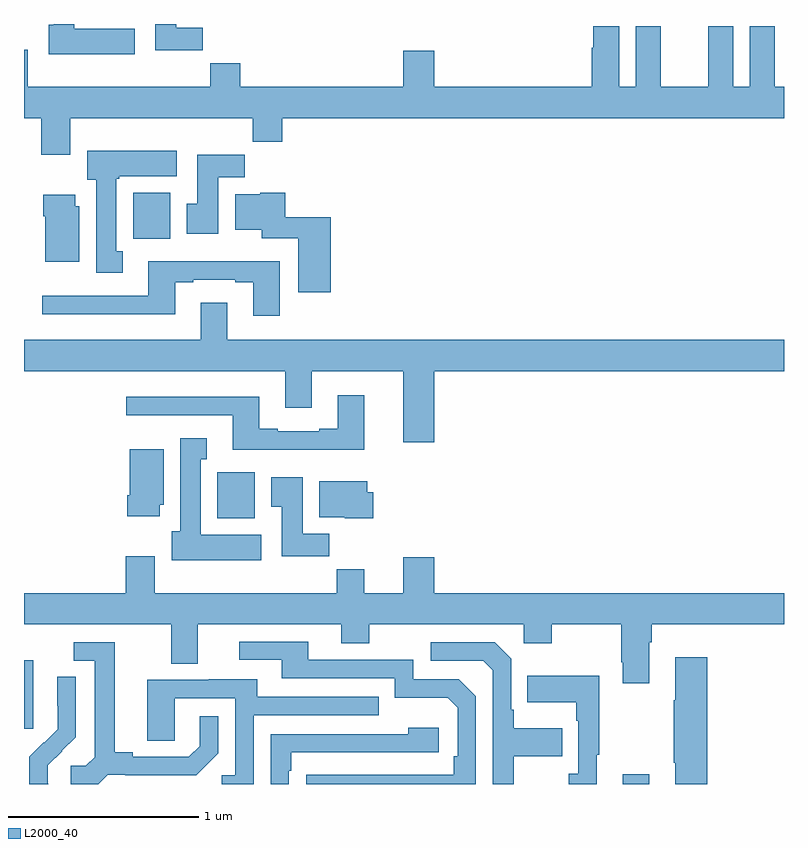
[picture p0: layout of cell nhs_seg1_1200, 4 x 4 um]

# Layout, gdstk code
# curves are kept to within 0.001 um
import gdstk
lib = gdstk.Library(unit=1e-6, precision=1e-09)
def R(c, l, rs):  # rectangles x0, y0, x1, y1
    for r in rs: c.add(gdstk.rectangle(r[:2], r[2:], *l))
def P(c, l, *ps):  # polygons
    for p in ps: c.add(gdstk.Polygon(p, *l))
L2000_40 = (2000, 40)

nhs_seg1_1200 = lib.new_cell('nhs_seg1_1200')
R(nhs_seg1_1200, L2000_40, [(178.151,576.199,178.291,576.25), (175,576.489,175.048,576.85), (176.018,577.598,176.215,577.84), (175.574,579.068,175.771,579.31)])
P(nhs_seg1_1200, L2000_40, [(175.94,580.18),(175.801,580.18),(175.801,580.199),(175.691,580.199),(175.691,580.062),(175.94,580.062)],
  [(175.582,580.174),(175.264,580.174),(175.264,580.199),(175.157,580.199),(175.157,580.194),(175.13,580.194),(175.13,580.04),(175.582,580.04)],
  [(175.243,579.704),(176.203,579.704),(176.203,579.58),(176.36,579.58),(176.36,579.704),(179,579.704),(179,579.868),(178.951,579.868),(178.951,580.186),(178.82,580.186),(178.82,579.868),(178.732,579.868),(178.732,580.186),(178.601,580.186),(178.601,579.868),(178.351,579.868),(178.351,580.186),(178.22,580.186),(178.22,579.868),(178.132,579.868),(178.132,580.186),(177.995,580.186),(177.995,580.073),(177.989,580.073),(177.989,579.868),(177.16,579.868),(177.16,580.057),(176.996,580.057),(176.996,579.868),(176.138,579.868),(176.138,579.992),(175.981,579.992),(175.981,579.868),(175.021,579.868),(175.021,580.063),(175,580.063),(175,579.704),(175.091,579.704),(175.091,579.51),(175.243,579.51)],
  [(175.519,579.002),(175.486,579.002),(175.486,579.385),(175.5,579.385),(175.5,579.398),(175.804,579.398),(175.804,579.532),(175.334,579.532),(175.334,579.378),(175.379,579.378),(175.379,578.889),(175.519,578.889)],
  [(176.023,579.392),(176.162,579.392),(176.162,579.511),(175.913,579.511),(175.913,579.252),(175.856,579.252),(175.856,579.096),(176.023,579.096)],
  [(176.615,579.181),(176.375,579.181),(176.375,579.31),(176.244,579.31),(176.244,579.304),(176.111,579.304),(176.111,579.116),(176.252,579.116),(176.252,579.071),(176.444,579.071),(176.444,578.787),(176.615,578.787)],
  [(175.291,579.24),(175.27,579.24),(175.27,579.301),(175.1,579.301),(175.1,579.188),(175.112,579.188),(175.112,578.948),(175.291,578.948)],
  [(176.347,578.95),(175.655,578.95),(175.655,578.769),(175.095,578.769),(175.095,578.672),(175.795,578.672),(175.795,578.841),(175.891,578.841),(175.891,578.853),(176.111,578.853),(176.111,578.841),(176.207,578.841),(176.207,578.664),(176.347,578.664)],
  [(177.16,578.372),(179,578.372),(179,578.536),(176.071,578.536),(176.071,578.731),(175.931,578.731),(175.931,578.536),(175,578.536),(175,578.372),(176.375,578.372),(176.375,578.178),(176.515,578.178),(176.515,578.372),(176.996,578.372),(176.996,577.998),(177.16,577.998)],
  [(176.791,578.245),(176.651,578.245),(176.651,578.068),(176.555,578.068),(176.555,578.055),(176.335,578.055),(176.335,578.068),(176.239,578.068),(176.239,578.236),(175.539,578.236),(175.539,578.139),(176.099,578.139),(176.099,577.958),(176.791,577.958)],
  [(176.248,577.51),(175.93,577.51),(175.93,577.907),(175.963,577.907),(175.963,578.02),(175.823,578.02),(175.823,577.53),(175.778,577.53),(175.778,577.376),(176.248,577.376)],
  [(175.714,577.668),(175.735,577.668),(175.735,577.96),(175.556,577.96),(175.556,577.72),(175.544,577.72),(175.544,577.608),(175.714,577.608)],
  [(176.606,577.516),(176.467,577.516),(176.467,577.813),(176.3,577.813),(176.3,577.657),(176.357,577.657),(176.357,577.398),(176.606,577.398)],
  [(176.837,577.734),(176.806,577.734),(176.806,577.792),(176.555,577.792),(176.555,577.604),(176.688,577.604),(176.688,577.598),(176.837,577.598)],
  [(178.291,576.944),(178.304,576.944),(178.304,577.04),(179,577.04),(179,577.204),(177.16,577.204),(177.16,577.393),(176.996,577.393),(176.996,577.204),(176.791,577.204),(176.791,577.328),(176.647,577.328),(176.647,577.204),(175.687,577.204),(175.687,577.399),(175.535,577.399),(175.535,577.204),(175,577.204),(175,577.04),(175.775,577.04),(175.775,576.832),(175.915,576.832),(175.915,577.04),(176.669,577.04),(176.669,576.941),(176.817,576.941),(176.817,577.04),(177.63,577.04),(177.63,576.941),(177.777,576.941),(177.777,577.04),(178.144,577.04),(178.144,576.841),(178.151,576.841),(178.151,576.729),(178.291,576.729)],
  [(177.378,576.66),(177.288,576.75),(177.048,576.75),(177.048,576.852),(176.497,576.852),(176.497,576.948),(176.133,576.948),(176.133,576.852),(176.357,576.852),(176.357,576.756),(176.952,576.756),(176.952,576.653),(177.229,576.653),(177.282,576.6),(177.282,576.346),(177.262,576.346),(177.262,576.249),(176.485,576.248),(176.485,576.199),(177.378,576.199)],
  [(175.44,576.249),(175.534,576.249),(175.534,576.246),(175.906,576.246),(176.022,576.362),(176.022,576.556),(175.925,576.556),(175.925,576.399),(175.868,576.342),(175.573,576.342),(175.573,576.365),(175.477,576.365),(175.477,576.945),(175.263,576.945),(175.263,576.849),(175.373,576.849),(175.373,576.341),(175.326,576.294),(175.245,576.294),(175.245,576.199),(175.39,576.199)],
  [(177.577,576.346),(177.833,576.346),(177.833,576.493),(177.577,576.493),(177.577,576.589),(177.564,576.589),(177.564,576.858),(177.477,576.945),(177.141,576.945),(177.141,576.849),(177.417,576.849),(177.468,576.798),(177.468,576.199),(177.577,576.199)],
  [(178.595,576.865),(178.427,576.865),(178.427,576.641),(178.42,576.641),(178.42,576.31),(178.427,576.31),(178.427,576.199),(178.595,576.199)],
  [(178.015,576.353),(178.027,576.353),(178.027,576.769),(177.649,576.769),(177.649,576.629),(177.906,576.629),(177.906,576.533),(177.918,576.533),(177.918,576.254),(177.867,576.254),(177.867,576.199),(178.015,576.199)],
  [(175.128,576.201),(175.126,576.201),(175.126,576.298),(175.272,576.446),(175.272,576.764),(175.176,576.764),(175.176,576.61),(175.178,576.61),(175.178,576.488),(175.107,576.417),(175.104,576.42),(175.027,576.343),(175.027,576.199),(175.128,576.199)],
  [(176.208,576.561),(176.867,576.561),(176.867,576.657),(176.227,576.657),(176.227,576.751),(175.973,576.751),(175.973,576.747),(175.649,576.747),(175.649,576.427),(175.794,576.427),(175.794,576.651),(176.112,576.651),(176.112,576.246),(176.04,576.246),(176.04,576.199),(176.208,576.199)],
  [(176.394,576.269),(176.407,576.269),(176.407,576.366),(177.184,576.366),(177.184,576.496),(177.023,576.496),(177.023,576.462),(176.298,576.462),(176.298,576.199),(176.394,576.199)])

lib.write_gds('nhs_seg1_1200.gds')
